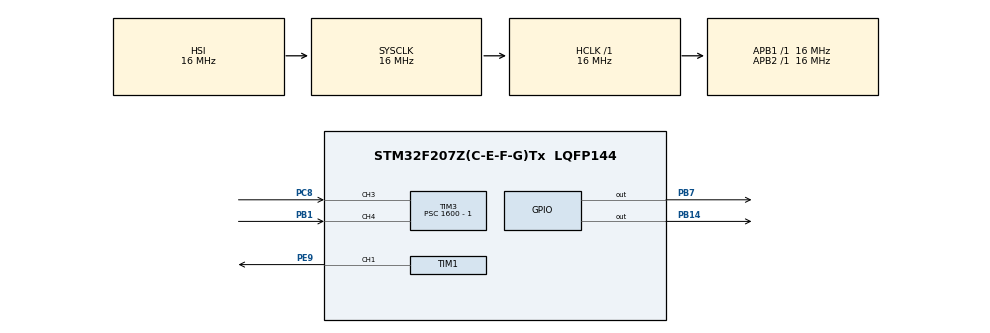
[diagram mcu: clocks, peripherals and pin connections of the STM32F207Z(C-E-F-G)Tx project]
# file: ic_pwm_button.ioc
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Mcu.Family=STM32F2
Mcu.Name=STM32F207Z(C-E-F-G)Tx
Mcu.Package=LQFP144
NVIC.PriorityGroup=NVIC_PRIORITYGROUP_4
NVIC.TIM1_BRK_TIM9_IRQn=true\:0\:0\:false\:false\:true\:true\:true\:true
NVIC.TIM1_CC_IRQn=true\:0\:0\:false\:false\:true\:true\:true\:true
NVIC.TIM1_TRG_COM_TIM11_IRQn=true\:0\:0\:false\:false\:true\:true\:true\:true
NVIC.TIM1_UP_TIM10_IRQn=true\:0\:0\:false\:false\:true\:true\:true\:true
NVIC.TIM3_IRQn=true\:0\:0\:false\:false\:true\:true\:true\:true
PB1.Signal=S_TIM3_CH4
PB14.Signal=GPIO_Output
PB7.Signal=GPIO_Output
PC8.GPIO_PuPd=GPIO_PULLDOWN
PC8.Signal=S_TIM3_CH3
PE9.Signal=S_TIM1_CH1
PH0-OSC_IN.Mode=HSE-External-Oscillator
PH0-OSC_IN.Signal=RCC_OSC_IN
PH1-OSC_OUT.Mode=HSE-External-Oscillator
PH1-OSC_OUT.Signal=RCC_OSC_OUT
ProjectManager.HeapSize=0x200
ProjectManager.StackSize=0x400
ProjectManager.TargetToolchain=STM32CubeIDE
RCC.48MHZClocksFreq_Value=48000000
RCC.AHBFreq_Value=16000000
RCC.APB1Freq_Value=16000000
RCC.APB2Freq_Value=16000000
RCC.CortexFreq_Value=16000000
RCC.HSE_VALUE=25000000
RCC.HSI_VALUE=16000000
RCC.LSE_VALUE=32768
RCC.SYSCLKFreq_VALUE=16000000
RCC.VCOOutputFreq_Value=192000000
SH.S_TIM1_CH1.0=TIM1_CH1,PWM Generation1 CH1
SH.S_TIM3_CH3.0=TIM3_CH3,Input_Capture3_from_TI3
SH.S_TIM3_CH4.0=TIM3_CH4,Input_Capture4_from_TI4
TIM1.Channel-PWM\ Generation1\ CH1=TIM_CHANNEL_1
TIM1.Period=500 - 1
TIM1.Prescaler=1600 - 1
TIM3.Channel-Input_Capture3_from_TI3=TIM_CHANNEL_3
TIM3.Channel-Input_Capture4_from_TI4=TIM_CHANNEL_4
TIM3.ICPolarity_CH3=TIM_INPUTCHANNELPOLARITY_BOTHEDGE
TIM3.Period=40000 - 1
TIM3.Prescaler=1600 - 1
VP_TIM1_VS_ClockSourceINT.Mode=Internal
VP_TIM3_VS_ClockSourceINT.Mode=Internal
board=custom

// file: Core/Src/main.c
/* USER CODE BEGIN Header */
/**
  ******************************************************************************
  * @file           : main.c
  * @brief          : Main program body
  ******************************************************************************
  * @attention
  *
  * Copyright (c) 2023 STMicroelectronics.
  * All rights reserved.
  *
  * This software is licensed under terms that can be found in the LICENSE file
  * in the root directory of this software component.
  * If no LICENSE file comes with this software, it is provided AS-IS.
  *
  ******************************************************************************
  */
/* USER CODE END Header */
#include "main.h"

TIM_HandleTypeDef htim1;
TIM_HandleTypeDef htim3;

/* USER CODE BEGIN PV */
uint32_t rise = 0;
uint32_t fall = 0;
uint32_t diff = 0;
float duty;
static float x;
float frequency;
float frequency2;
float duty_cycle;
static float y;
float prev;
float time = 0;
uint32_t risingEdgeTime = 0;
uint32_t fallingEdgeTime = 0;
float duty;
uint32_t pulseWidth;
/* USER CODE END PV */

void SystemClock_Config(void);
static void MX_GPIO_Init(void);
static void MX_TIM1_Init(void);
static void MX_TIM3_Init(void);

/* USER CODE BEGIN 0 */
void HAL_TIM_IC_CaptureCallback(TIM_HandleTypeDef *htim)
{
	x = TIM1->ARR;
	prev = TIM1->ARR;
	y = TIM1->CCR1;
	static int control = 0;
	if (htim->Channel == HAL_TIM_ACTIVE_CHANNEL_3)
	{
		if (control == 0)
		{
			rise = HAL_TIM_ReadCapturedValue(&htim3, TIM_CHANNEL_3);
			control = 1;
		}
		else
		{
			fall = HAL_TIM_ReadCapturedValue(&htim3, TIM_CHANNEL_3);
			if (fall > rise)
				diff = fall - rise;
			else
				diff = 40000 + fall - rise;
			time = ((((float)diff) / 40000) * 4);
			if (time > 2.0)
			{
				if (x >= 250)
				{
					x = x - 150;
					TIM1->ARR = (int)x;
					TIM1->CCR1 =((x * y) / prev);
					y = TIM1->CCR1;
					duty_cycle =(int)((y / x) * 100);
				}
				else
				{
					TIM1->ARR = 500 - 1;
					TIM1->CCR1 = (499 * y) / x;
				}
			}
			else {
				if (x <= 2000)
				{
					x = x + 150;
					TIM1->ARR = (int)x;
					TIM1->CCR1 =((x * y) / prev);
					y = TIM1->CCR1;
					duty_cycle =(int)((y / x) * 100);
				}
				else
				{
					TIM1->ARR = 500 - 1;
					TIM1->CCR1 = (499 * y) / x;
				}
			}
			control = 0;
		}
	}
	if (htim->Channel == HAL_TIM_ACTIVE_CHANNEL_4)
		{
			if (control == 0)
			{
				rise = HAL_TIM_ReadCapturedValue(&htim3, TIM_CHANNEL_4);
				control = 1;
			}
			else
			{
				fall = HAL_TIM_ReadCapturedValue(&htim3, TIM_CHANNEL_4);
				if (fall > rise)
					diff = fall - rise;
				else
					diff = 40000 + fall - rise;
				time = ((((float)diff) / 40000) * 4);
				if (time > 1.0)
				{
					if (y + 25 <= x + 1)
					{
						y += 25;
						TIM1->CCR1 = y;
						duty_cycle =(int)((y / x) * 100);
					}
					else
					{
						TIM1->CCR1 = x / 10;
					}
				}
				else
				{
					if (y - 25 <= x + 1)
					{
						y -= 25;
						TIM1->CCR1 = y;
						duty_cycle =(int)((y / x) * 100);
					}
					else
					{
						TIM1->CCR1 = x / 10;
					}

				}
				control = 0;
			}
		}
	}
/* USER CODE END 0 */

int main(void)
{

  /* MCU Configuration--------------------------------------------------------*/

  /* Reset of all peripherals, Initializes the Flash interface and the Systick. */
  HAL_Init();

  /* Configure the system clock */
  SystemClock_Config();

  /* Initialize all configured peripherals */
  MX_GPIO_Init();
  MX_TIM1_Init();
  MX_TIM3_Init();
  /* USER CODE BEGIN 2 */
  if (__HAL_TIM_GET_FLAG(&htim3, TIM_FLAG_UPDATE) != RESET)
  __HAL_TIM_CLEAR_FLAG(&htim3, TIM_FLAG_UPDATE);
  HAL_TIM_Base_Start_IT(&htim3);
  HAL_TIM_IC_Start_IT(&htim3, TIM_CHANNEL_3);
  HAL_TIM_IC_Start(&htim3, TIM_CHANNEL_4);
  TIM1->CCR1 = 125;
  HAL_TIM_PWM_Start(&htim1, TIM_CHANNEL_1);
  /* USER CODE END 2 */

  /* Infinite loop */
  while (1)
  {

  }
}

void SystemClock_Config(void)
{
  RCC_OscInitTypeDef RCC_OscInitStruct = {0};
  RCC_ClkInitTypeDef RCC_ClkInitStruct = {0};

  /** Initializes the RCC Oscillators according to the specified parameters
  * in the RCC_OscInitTypeDef structure.
  */
  RCC_OscInitStruct.OscillatorType = RCC_OSCILLATORTYPE_HSI;
  RCC_OscInitStruct.HSIState = RCC_HSI_ON;
  RCC_OscInitStruct.HSICalibrationValue = RCC_HSICALIBRATION_DEFAULT;
  RCC_OscInitStruct.PLL.PLLState = RCC_PLL_NONE;
  if (HAL_RCC_OscConfig(&RCC_OscInitStruct) != HAL_OK)
  {
    Error_Handler();
  }

  /** Initializes the CPU, AHB and APB buses clocks
  */
  RCC_ClkInitStruct.ClockType = RCC_CLOCKTYPE_HCLK|RCC_CLOCKTYPE_SYSCLK
                              |RCC_CLOCKTYPE_PCLK1|RCC_CLOCKTYPE_PCLK2;
  RCC_ClkInitStruct.SYSCLKSource = RCC_SYSCLKSOURCE_HSI;
  RCC_ClkInitStruct.AHBCLKDivider = RCC_SYSCLK_DIV1;
  RCC_ClkInitStruct.APB1CLKDivider = RCC_HCLK_DIV1;
  RCC_ClkInitStruct.APB2CLKDivider = RCC_HCLK_DIV1;

  if (HAL_RCC_ClockConfig(&RCC_ClkInitStruct, FLASH_LATENCY_0) != HAL_OK)
  {
    Error_Handler();
  }
}

static void MX_TIM1_Init(void)
{

  TIM_ClockConfigTypeDef sClockSourceConfig = {0};
  TIM_MasterConfigTypeDef sMasterConfig = {0};
  TIM_OC_InitTypeDef sConfigOC = {0};
  TIM_BreakDeadTimeConfigTypeDef sBreakDeadTimeConfig = {0};

  htim1.Instance = TIM1;
  htim1.Init.Prescaler = 1600 - 1;
  htim1.Init.CounterMode = TIM_COUNTERMODE_UP;
  htim1.Init.Period = 500 - 1;
  htim1.Init.ClockDivision = TIM_CLOCKDIVISION_DIV1;
  htim1.Init.RepetitionCounter = 0;
  htim1.Init.AutoReloadPreload = TIM_AUTORELOAD_PRELOAD_DISABLE;
  if (HAL_TIM_Base_Init(&htim1) != HAL_OK)
  {
    Error_Handler();
  }
  sClockSourceConfig.ClockSource = TIM_CLOCKSOURCE_INTERNAL;
  if (HAL_TIM_ConfigClockSource(&htim1, &sClockSourceConfig) != HAL_OK)
  {
    Error_Handler();
  }
  if (HAL_TIM_PWM_Init(&htim1) != HAL_OK)
  {
    Error_Handler();
  }
  sMasterConfig.MasterOutputTrigger = TIM_TRGO_RESET;
  sMasterConfig.MasterSlaveMode = TIM_MASTERSLAVEMODE_DISABLE;
  if (HAL_TIMEx_MasterConfigSynchronization(&htim1, &sMasterConfig) != HAL_OK)
  {
    Error_Handler();
  }
  sConfigOC.OCMode = TIM_OCMODE_PWM1;
  sConfigOC.Pulse = 0;
  sConfigOC.OCPolarity = TIM_OCPOLARITY_HIGH;
  sConfigOC.OCNPolarity = TIM_OCNPOLARITY_HIGH;
  sConfigOC.OCFastMode = TIM_OCFAST_DISABLE;
  sConfigOC.OCIdleState = TIM_OCIDLESTATE_RESET;
  sConfigOC.OCNIdleState = TIM_OCNIDLESTATE_RESET;
  if (HAL_TIM_PWM_ConfigChannel(&htim1, &sConfigOC, TIM_CHANNEL_1) != HAL_OK)
  {
    Error_Handler();
  }
  sBreakDeadTimeConfig.OffStateRunMode = TIM_OSSR_DISABLE;
  sBreakDeadTimeConfig.OffStateIDLEMode = TIM_OSSI_DISABLE;
  sBreakDeadTimeConfig.LockLevel = TIM_LOCKLEVEL_OFF;
  sBreakDeadTimeConfig.DeadTime = 0;
  sBreakDeadTimeConfig.BreakState = TIM_BREAK_DISABLE;
  sBreakDeadTimeConfig.BreakPolarity = TIM_BREAKPOLARITY_HIGH;
  sBreakDeadTimeConfig.AutomaticOutput = TIM_AUTOMATICOUTPUT_DISABLE;
  if (HAL_TIMEx_ConfigBreakDeadTime(&htim1, &sBreakDeadTimeConfig) != HAL_OK)
  {
    Error_Handler();
  }
  HAL_TIM_MspPostInit(&htim1);

}

static void MX_TIM3_Init(void)
{

  TIM_ClockConfigTypeDef sClockSourceConfig = {0};
  TIM_MasterConfigTypeDef sMasterConfig = {0};
  TIM_IC_InitTypeDef sConfigIC = {0};

  htim3.Instance = TIM3;
  htim3.Init.Prescaler = 1600 - 1;
  htim3.Init.CounterMode = TIM_COUNTERMODE_UP;
  htim3.Init.Period = 40000 - 1;
  htim3.Init.ClockDivision = TIM_CLOCKDIVISION_DIV1;
  htim3.Init.AutoReloadPreload = TIM_AUTORELOAD_PRELOAD_DISABLE;
  if (HAL_TIM_Base_Init(&htim3) != HAL_OK)
  {
    Error_Handler();
  }
  sClockSourceConfig.ClockSource = TIM_CLOCKSOURCE_INTERNAL;
  if (HAL_TIM_ConfigClockSource(&htim3, &sClockSourceConfig) != HAL_OK)
  {
    Error_Handler();
  }
  if (HAL_TIM_IC_Init(&htim3) != HAL_OK)
  {
    Error_Handler();
  }
  sMasterConfig.MasterOutputTrigger = TIM_TRGO_RESET;
  sMasterConfig.MasterSlaveMode = TIM_MASTERSLAVEMODE_DISABLE;
  if (HAL_TIMEx_MasterConfigSynchronization(&htim3, &sMasterConfig) != HAL_OK)
  {
    Error_Handler();
  }
  sConfigIC.ICPolarity = TIM_INPUTCHANNELPOLARITY_BOTHEDGE;
  sConfigIC.ICSelection = TIM_ICSELECTION_DIRECTTI;
  sConfigIC.ICPrescaler = TIM_ICPSC_DIV1;
  sConfigIC.ICFilter = 0;
  if (HAL_TIM_IC_ConfigChannel(&htim3, &sConfigIC, TIM_CHANNEL_3) != HAL_OK)
  {
    Error_Handler();
  }
  sConfigIC.ICPolarity = TIM_INPUTCHANNELPOLARITY_RISING;
  if (HAL_TIM_IC_ConfigChannel(&htim3, &sConfigIC, TIM_CHANNEL_4) != HAL_OK)
  {
    Error_Handler();
  }

}

static void MX_GPIO_Init(void)
{
  GPIO_InitTypeDef GPIO_InitStruct = {0};

  /* GPIO Ports Clock Enable */
  __HAL_RCC_GPIOH_CLK_ENABLE();
  __HAL_RCC_GPIOB_CLK_ENABLE();
  __HAL_RCC_GPIOE_CLK_ENABLE();
  __HAL_RCC_GPIOC_CLK_ENABLE();

  /*Configure GPIO pin Output Level */
  HAL_GPIO_WritePin(GPIOB, GPIO_PIN_14|GPIO_PIN_7, GPIO_PIN_RESET);

  /*Configure GPIO pins : PB14 PB7 */
  GPIO_InitStruct.Pin = GPIO_PIN_14|GPIO_PIN_7;
  GPIO_InitStruct.Mode = GPIO_MODE_OUTPUT_PP;
  GPIO_InitStruct.Pull = GPIO_NOPULL;
  GPIO_InitStruct.Speed = GPIO_SPEED_FREQ_LOW;
  HAL_GPIO_Init(GPIOB, &GPIO_InitStruct);

}

void Error_Handler(void)
{
  __disable_irq();
  while (1)
  {
  }
}
